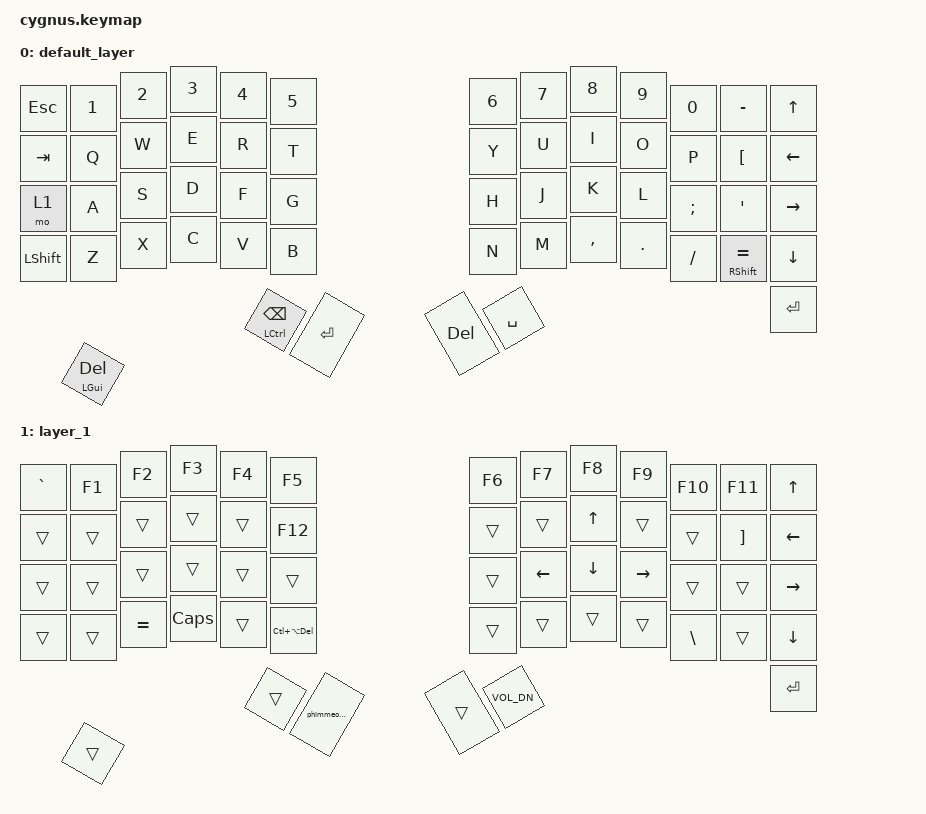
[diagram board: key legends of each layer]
#include <behaviors.dtsi>
#include <dt-bindings/zmk/keys.h>

&mt {
    flavor = "balanced";
    hold-trigger-on-release;
    tapping-term-ms = <200>;
    quick-tap-ms = <150>;
    require-prior-idle-ms = <100>;
};

/ {
    combos { compatible = "zmk,combos"; };

    behaviors {
        hml: hml {
            compatible = "zmk,behavior-hold-tap";
            label = "HOME_ROW_LEFT";
            bindings = <&kp>, <&kp>;

            #binding-cells = <2>;
            hold-trigger-key-positions = <6 7 8 9 10 11 18 19 20 21 22 23 30 31 32 33 34 35 42 43 44 45 46 47>;
            tapping-term-ms = <180>;
            quick-tap-ms = <175>;
            require-prior-idle-ms = <150>;
            flavor = "balanced";
            hold-trigger-on-release;
        };

        hmr: hmr {
            compatible = "zmk,behavior-hold-tap";
            label = "HOME_ROW_RIGHT";
            bindings = <&kp>, <&kp>;

            #binding-cells = <2>;
            tapping-term-ms = <180>;
            quick-tap-ms = <175>;
            require-prior-idle-ms = <150>;
            flavor = "balanced";
            hold-trigger-key-positions = <0 1 2 3 4 5 12 13 14 15 16 17 24 25 26 27 28 29 36 37 38 39 40 41>;
            hold-trigger-on-release;
        };
    };

    macros {
        phimmeomeo: phimmeomeo {
            compatible = "zmk,behavior-macro";
            #binding-cells = <0>;
            bindings = <&kp P &kp H &kp I &kp M &kp M &kp E &kp O &kp M &kp E &kp O &kp DOT &kp C &kp O &kp M>;
            label = "PHIMMEOMEO";
            wait-ms = <5>;
            tap-ms = <10>;
        };
    };

    keymap {
        compatible = "zmk,keymap";

        default_layer {
            // -----------------------------------------------------------------------------------------
            // |  ESC |  1  |  2  |  3  |  4  |  5  |   |  6  |  7   |  8  |  9  |  0  |  ?   |
            // |  TAB |  Q  |  W  |  E  |  R  |  T  |   |  Y  |  U   |  I  |  O  |  P  | BKSP |
            // | CTRL |  A  |  S  |  D  |  F  |  G  |   |  H  |  J   |  K  |  L  |  ;  |  '   |
            // | SHFT |  Z  |  X  |  C  |  V  |  B  |   |  N  |  M   |  ,  |  .  |  /  | ESC  |
            //                    | GUI | LWR | SPC |   | ENT | RSE  | ALT |

            bindings = <
&kp ESCAPE  &kp N1  &kp N2  &kp N3            &kp N4               &kp N5     &kp N6  &kp N7      &kp N8     &kp N9   &kp N0     &kp MINUS              &kp UP_ARROW
&kp TAB     &kp Q   &kp W   &kp E             &kp R                &kp T      &kp Y   &kp U       &kp I      &kp O    &kp P      &kp LEFT_BRACKET       &kp LEFT_ARROW
&mo 1       &kp A   &kp S   &kp D             &kp F                &kp G      &kp H   &kp J       &kp K      &kp L    &kp SEMI   &kp SQT                &kp RIGHT
&kp LSHFT   &kp Z   &kp X   &kp C             &kp V                &kp B      &kp N   &kp M       &kp COMMA  &kp DOT  &kp SLASH  &mt RIGHT_SHIFT EQUAL  &kp DOWN_ARROW
                            &mt LEFT_GUI DEL  &mt LCTRL BACKSPACE  &kp ENTER          &kp DELETE  &kp SPACE                                             &kp ENTER
            >;
        };

        layer_1 {
            // -----------------------------------------------------------------------------------------
            // |  TAB |  F1 |  F2 |  F3 |  F4 |  F5 |   |  F6 |  F7 |  F8 |  F9 | F10 | BKSP |
            // |  TAB |  1  |  2  |  3  |  4  |  5  |   |  6  |  7  |  8  |  9  |  0  | BKSP |
            // | BTCLR| BT1 | BT2 | BT3 | BT4 | BT5 |   | LFT | DWN |  UP | RGT |     |      |
            // | SHFT |     |     |     |     |     |   |     |     |     |     |     |      |
            //                    | GUI |     | SPC |   | ENT |     | ALT |

            bindings = <
&kp GRAVE  &kp F1  &kp F2     &kp F3    &kp F4  &kp F5              &kp F6  &kp F7          &kp F8          &kp F9     &kp F10   &kp F11   &kp UP_ARROW
&trans     &trans  &trans     &trans    &trans  &kp F12             &trans  &trans          &kp UP_ARROW    &trans     &trans    &kp RBKT  &kp LEFT_ARROW
&trans     &trans  &trans     &trans    &trans  &trans              &trans  &kp LEFT_ARROW  &kp DOWN_ARROW  &kp RIGHT  &trans    &trans    &kp RIGHT
&trans     &trans  &kp EQUAL  &kp CAPS  &trans  &kp LC(LA(DELETE))  &trans  &trans          &trans          &trans     &kp BSLH  &trans    &kp DOWN_ARROW
                              &trans    &trans  &phimmeomeo                 &trans          &kp C_VOL_DN                                   &kp ENTER
            >;
        };
    };
};
